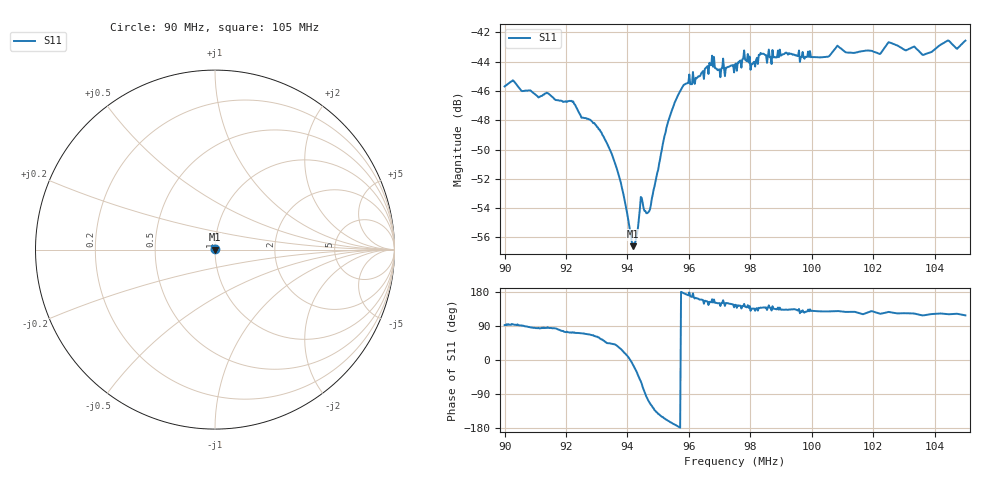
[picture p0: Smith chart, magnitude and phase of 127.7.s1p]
# HZ S RI R 50
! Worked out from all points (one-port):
!   505 points, 90 MHz to 105 MHz, reference 50 ohm
!   lowest |S11| = -56.6 dB at 94.17 MHz (marker M1), VSWR 1.00, Z = 50.1 - j0.0274 ohm
!   |S11| at or under -10 dB: start of sweep to end of sweep
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9e7  -0.000197 0.00519
9.026786e7  -0.000349 0.00544
9.187501e7  0.00107 0.00451
9.220239e7  0.00133 0.00441
9.309525e7  0.00201 0.00311
9.375001e7  0.00215 0.0013
9.416668e7  0.00145 -0.000273
9.428573e7  0.00139 -0.000771
9.44643e7  0.000983 -0.00192
9.461311e7  -0.00022 -0.00191
9.473216e7  -0.000833 -0.00179
9.526787e7  -0.00347 -0.00143
9.562502e7  -0.00477 -0.000475
9.675597e7  -0.00623 0.00223
9.696431e7  -0.00514 0.00296
9.750002e7  -0.00509 0.00349
9.785717e7  -0.00486 0.00412
9.80655e7  -0.00441 0.00434
9.833336e7  -0.00505 0.0045
9.937503e7  -0.00459 0.00484
1.004762e8  -0.00406 0.00516
1.008631e8  -0.00449 0.00552
1.0125e8  -0.00408 0.00541
1.022024e8  -0.00359 0.00567
1.025298e8  -0.00436 0.00591
1.03125e8  -0.00381 0.0058
1.036608e8  -0.00314 0.00589
1.05e8  -0.00347 0.00659
